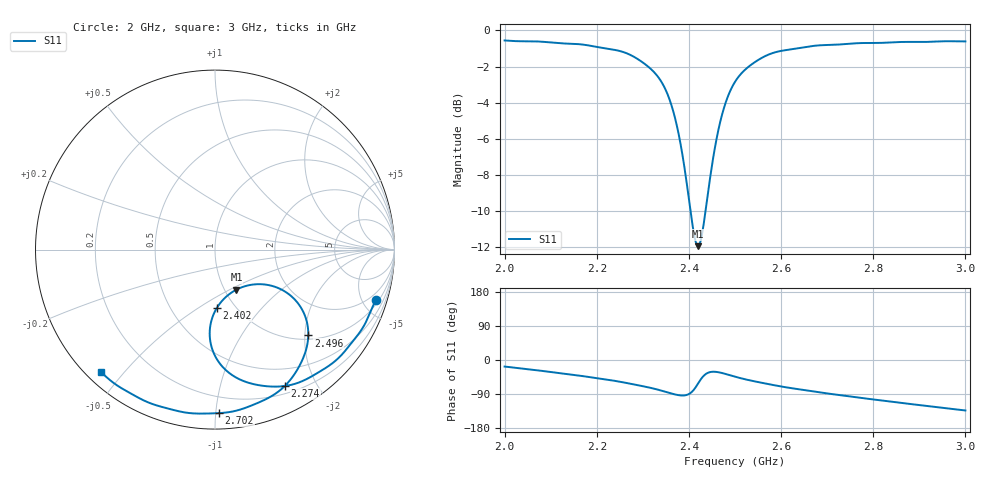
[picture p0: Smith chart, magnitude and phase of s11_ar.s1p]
! S11 simulado (openEMS) da antena patch_2g45: antena no ar
! referencia: borda da placa (entrada do SMA)
# Hz S RI R 50
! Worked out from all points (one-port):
!   501 points, 2 GHz to 3 GHz, reference 50 ohm
!   lowest |S11| = -11.9 dB at 2.42 GHz (marker M1), VSWR 1.68, Z = 56.7 - j27 ohm
!   |S11| at or under -10 dB: 2.404 GHz to 2.436 GHz (32.47 MHz wide, 1.34 % of centre)
!   S11 on the Smith chart (normalised r, x): 2 GHz: 1.36, -6.29; 2.274 GHz: 0.28, -1.60; 2.402 GHz: 0.82, -0.60; 2.496 GHz: 1.09, -2.08; 2.702 GHz: 0.09, -1.02; 3 GHz: 0.04, -0.43
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2e9  0.8955 -0.2787
2.064e9  0.8374 -0.4106
2.126e9  0.7504 -0.5328
2.178e9  0.6552 -0.6323
2.25e9  0.4737 -0.738
2.274e9  0.3899 -0.7599
2.308e9  0.2586 -0.7577
2.336e9  0.1356 -0.7222
2.356e9  0.0418 -0.6528
2.376e9  -0.0227 -0.5288
2.39e9  -0.0253 -0.4193
2.402e9  0.00931 -0.3267
2.412e9  0.0633 -0.2616
2.42e9  0.1197 -0.223
2.43e9  0.2004 -0.1963
2.44e9  0.2842 -0.1953
2.45e9  0.3623 -0.2187
2.472e9  0.4832 -0.3304
2.496e9  0.5198 -0.4781
2.5e9  0.5184 -0.5004
2.526e9  0.4842 -0.6202
2.562e9  0.4081 -0.7394
2.592e9  0.3253 -0.8102
2.626e9  0.2302 -0.8576
2.702e9  0.0228 -0.9111
2.75e9  -0.0989 -0.9135
2.876e9  -0.399 -0.8393
3e9  -0.6378 -0.6799
